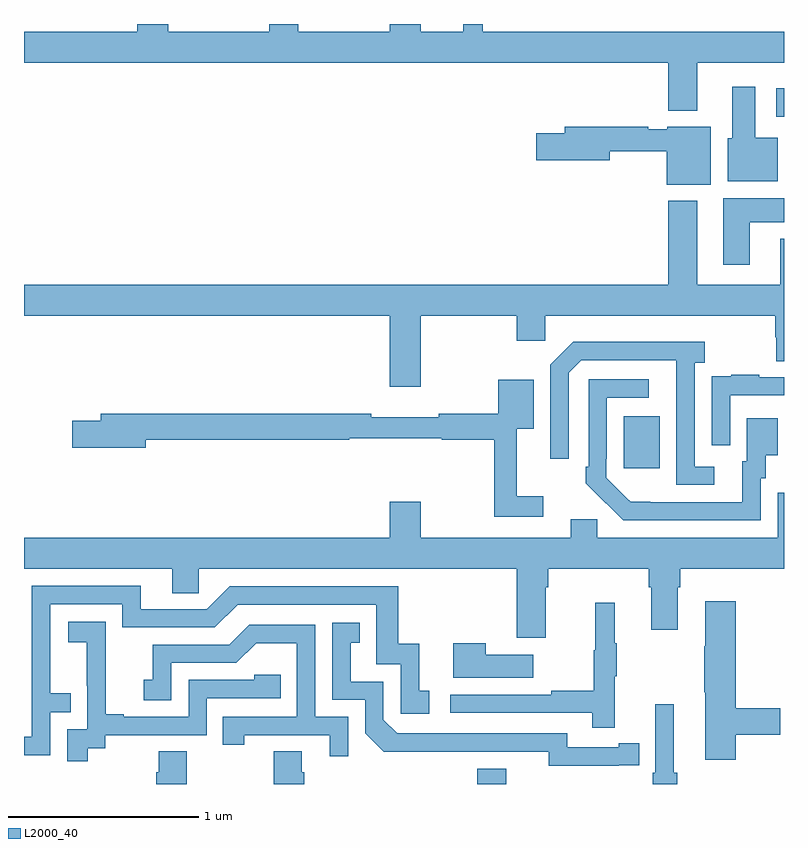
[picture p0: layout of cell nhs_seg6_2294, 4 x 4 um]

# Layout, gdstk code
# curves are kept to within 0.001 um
import gdstk
lib = gdstk.Library(unit=1e-6, precision=1e-09)
def R(c, l, rs):  # rectangles x0, y0, x1, y1
    for r in rs: c.add(gdstk.rectangle(r[:2], r[2:], *l))
def P(c, l, *ps):  # polygons
    for p in ps: c.add(gdstk.Polygon(p, *l))
L2000_40 = (2000, 40)

nhs_seg6_2294 = lib.new_cell('nhs_seg6_2294')
R(nhs_seg6_2294, L2000_40, [(249.386,983.5,249.538,983.581), (250.157,985.161,250.345,985.435), (250.959,987.011,251,987.163)])
P(nhs_seg6_2294, L2000_40, [(250.543,987.296),(251,987.296),(251,987.46),(249.415,987.46),(249.415,987.5),(249.311,987.5),(249.311,987.46),(249.088,987.46),(249.088,987.5),(248.924,987.5),(248.924,987.46),(248.443,987.46),(248.443,987.5),(248.291,987.5),(248.291,987.46),(247.76,987.46),(247.76,987.5),(247.595,987.5),(247.595,987.46),(247,987.46),(247,987.296),(250.391,987.296),(250.391,987.044),(250.543,987.044)],
  [(250.966,986.902),(250.849,986.902),(250.849,987.169),(250.727,987.169),(250.727,986.898),(250.703,986.898),(250.703,986.672),(250.966,986.672)],
  [(250.615,986.959),(250.386,986.959),(250.386,986.946),(250.286,986.946),(250.286,986.959),(249.845,986.959),(249.845,986.925),(249.696,986.925),(249.696,986.783),(250.084,986.783),(250.084,986.83),(250.382,986.83),(250.382,986.654),(250.615,986.654)],
  [(250.819,986.456),(251,986.456),(251,986.584),(250.679,986.584),(250.679,986.232),(250.819,986.232)],
  [(249.088,985.964),(249.593,985.964),(249.593,985.833),(249.744,985.833),(249.744,985.964),(250.955,985.964),(250.955,985.851),(250.96,985.851),(250.96,985.726),(251,985.726),(251,986.371),(250.979,986.371),(250.979,986.128),(250.543,986.128),(250.543,986.569),(250.391,986.569),(250.391,986.128),(247,986.128),(247,985.964),(248.924,985.964),(248.924,985.59),(249.088,985.59)],
  [(250.633,985.17),(250.53,985.17),(250.53,985.718),(250.582,985.718),(250.582,985.828),(249.892,985.828),(249.771,985.707),(249.771,985.212),(249.867,985.212),(249.867,985.665),(249.933,985.731),(250.433,985.731),(250.434,985.074),(250.633,985.074)],
  [(250.716,985.545),(251,985.545),(251,985.641),(250.871,985.641),(250.871,985.654),(250.723,985.654),(250.723,985.647),(250.621,985.647),(250.621,985.538),(250.62,985.538),(250.62,985.284),(250.716,985.284)],
  [(250.878,985.11),(250.903,985.11),(250.903,985.229),(250.966,985.229),(250.966,985.426),(250.805,985.426),(250.805,985.2),(250.781,985.2),(250.781,984.984),(250.194,984.985),(250.065,985.113),(250.065,985.213),(250.068,985.213),(250.068,985.533),(250.288,985.533),(250.288,985.629),(249.972,985.629),(249.972,985.171),(249.957,985.171),(249.957,985.083),(250.154,984.888),(250.878,984.888)],
  [(249.733,985.015),(249.593,985.015),(249.593,985.37),(249.682,985.37),(249.682,985.627),(249.495,985.627),(249.495,985.448),(249.184,985.448),(249.184,985.429),(248.828,985.429),(248.828,985.448),(247.403,985.448),(247.403,985.412),(247.254,985.412),(247.254,985.27),(247.642,985.27),(247.642,985.312),(248.711,985.312),(248.711,985.32),(249.198,985.32),(249.198,985.312),(249.475,985.312),(249.475,984.906),(249.733,984.906)],
  [(249.745,984.536),(249.758,984.536),(249.758,984.632),(250.289,984.632),(250.289,984.536),(250.301,984.536),(250.301,984.312),(250.441,984.312),(250.441,984.536),(250.454,984.536),(250.454,984.632),(251,984.632),(251,985.032),(250.967,985.032),(250.967,984.796),(250.017,984.796),(250.017,984.894),(249.878,984.894),(249.878,984.796),(249.088,984.796),(249.088,984.985),(248.924,984.985),(248.924,984.796),(247,984.796),(247,984.632),(247.781,984.632),(247.781,984.505),(247.92,984.505),(247.92,984.632),(249.593,984.632),(249.593,984.27),(249.745,984.27)],
  [(247.137,983.877),(247.247,983.877),(247.247,983.978),(247.137,983.978),(247.137,984.447),(247.518,984.447),(247.518,984.324),(248.004,984.324),(248.124,984.444),(248.853,984.444),(248.853,984.129),(248.982,984.129),(248.982,983.871),(249.133,983.871),(249.133,983.991),(249.08,983.991),(249.08,984.238),(248.969,984.238),(248.969,984.54),(248.082,984.54),(247.962,984.42),(247.615,984.42),(247.615,984.543),(247.041,984.543),(247.041,983.748),(247,983.748),(247,983.652),(247.137,983.652)],
  [(250.745,983.758),(250.981,983.758),(250.981,983.9),(250.745,983.9),(250.745,984.463),(250.586,984.463),(250.586,984.224),(250.579,984.224),(250.579,983.983),(250.586,983.983),(250.586,983.628),(250.745,983.628)],
  [(250.109,984.067),(250.12,984.067),(250.12,984.241),(250.109,984.241),(250.109,984.454),(250.006,984.454),(250.006,984.204),(249.999,984.204),(249.999,983.99),(249.775,983.99),(249.775,983.97),(249.243,983.97),(249.243,983.874),(249.991,983.874),(249.991,983.796),(250.109,983.796)],
  [(247.336,983.689),(247.428,983.689),(247.428,983.757),(247.962,983.757),(247.962,983.952),(248.351,983.952),(248.351,984.075),(248.211,984.075),(248.211,984.048),(247.866,984.048),(247.866,983.853),(247.525,983.853),(247.525,983.866),(247.43,983.866),(247.43,984.149),(247.431,984.149),(247.431,984.355),(247.233,984.355),(247.233,984.245),(247.331,984.245),(247.331,984.017),(247.332,984.017),(247.332,983.787),(247.227,983.787),(247.227,983.619),(247.336,983.619)],
  [(250.13,983.598),(250.238,983.598),(250.238,983.714),(250.13,983.714),(250.13,983.694),(249.858,983.694),(249.858,983.766),(248.964,983.766),(248.892,983.838),(248.892,984.039),(248.719,984.039),(248.719,984.243),(248.768,984.243),(248.768,984.349),(248.622,984.349),(248.622,983.943),(248.796,983.943),(248.796,983.766),(248.894,983.669),(249.762,983.67),(249.762,983.597)],
  [(248.706,983.853),(248.532,983.853),(248.532,984.339),(248.186,984.339),(248.081,984.234),(247.678,984.234),(247.678,984.049),(247.629,984.049),(247.629,983.94),(247.776,983.94),(247.776,984.138),(248.118,984.138),(248.222,984.242),(248.436,984.242),(248.436,983.853),(248.047,983.853),(248.047,983.706),(248.158,983.706),(248.158,983.757),(248.609,983.757),(248.609,983.646),(248.706,983.646)],
  [(249.679,984.181),(249.431,984.181),(249.431,984.241),(249.26,984.241),(249.26,984.059),(249.679,984.059)],
  [(250.439,983.56),(250.42,983.56),(250.42,983.92),(250.323,983.92),(250.323,983.56),(250.31,983.56),(250.31,983.5),(250.439,983.5)],
  [(247.857,983.672),(247.709,983.672),(247.709,983.562),(247.697,983.562),(247.697,983.5),(247.857,983.5)],
  [(248.474,983.562),(248.461,983.562),(248.461,983.672),(248.314,983.672),(248.314,983.5),(248.474,983.5)])

lib.write_gds('nhs_seg6_2294.gds')
